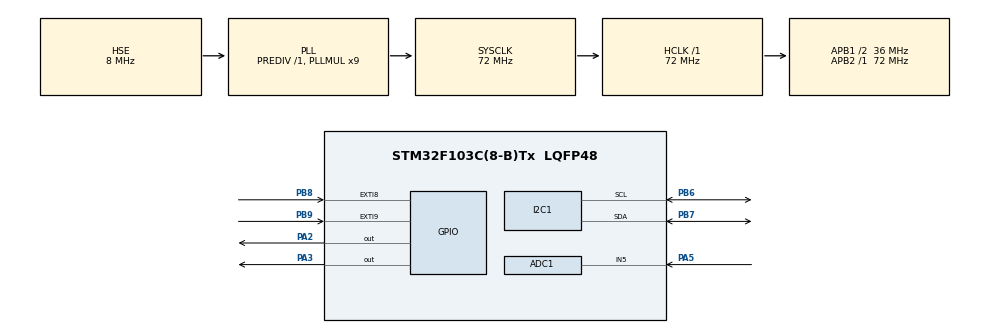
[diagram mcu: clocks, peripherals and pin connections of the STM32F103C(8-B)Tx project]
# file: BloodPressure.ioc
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ADC1.Channel-0\#ChannelRegularConversion=ADC_CHANNEL_5
ADC1.NbrOfConversionFlag=1
ADC1.Rank-0\#ChannelRegularConversion=1
ADC1.SamplingTime-0\#ChannelRegularConversion=ADC_SAMPLETIME_1CYCLE_5
ADC1.master=1
Mcu.Family=STM32F1
Mcu.Name=STM32F103C(8-B)Tx
Mcu.Package=LQFP48
NVIC.ADC1_2_IRQn=true\:0\:0\:false\:false\:true\:true\:true
NVIC.EXTI9_5_IRQn=true\:0\:0\:false\:false\:true\:true\:true
NVIC.I2C1_ER_IRQn=true\:0\:0\:false\:false\:true\:true\:true
NVIC.I2C1_EV_IRQn=true\:0\:0\:false\:false\:true\:true\:true
NVIC.PriorityGroup=NVIC_PRIORITYGROUP_4
PA13.Mode=Serial_Wire
PA13.Signal=SYS_JTMS-SWDIO
PA14.Mode=Serial_Wire
PA14.Signal=SYS_JTCK-SWCLK
PA2.Signal=GPIO_Output
PA3.Signal=GPIO_Output
PA5.Signal=ADCx_IN5
PB6.Mode=I2C
PB6.Signal=I2C1_SCL
PB7.Mode=I2C
PB7.Signal=I2C1_SDA
PB8.Signal=GPXTI8
PB9.Signal=GPXTI9
PD0-OSC_IN.Mode=HSE-External-Oscillator
PD0-OSC_IN.Signal=RCC_OSC_IN
PD1-OSC_OUT.Mode=HSE-External-Oscillator
PD1-OSC_OUT.Signal=RCC_OSC_OUT
ProjectManager.HeapSize=0x200
ProjectManager.StackSize=0x400
ProjectManager.TargetToolchain=Makefile
RCC.ADCPresc=RCC_ADCPCLK2_DIV6
RCC.AHBFreq_Value=72000000
RCC.APB1CLKDivider=RCC_HCLK_DIV2
RCC.APB1Freq_Value=36000000
RCC.APB1TimFreq_Value=72000000
RCC.APB2Freq_Value=72000000
RCC.APB2TimFreq_Value=72000000
RCC.HCLKFreq_Value=72000000
RCC.PLLMUL=RCC_PLL_MUL9
RCC.PLLSourceVirtual=RCC_PLLSOURCE_HSE
RCC.SYSCLKFreq_VALUE=72000000
RCC.SYSCLKSource=RCC_SYSCLKSOURCE_PLLCLK
RCC.USBFreq_Value=72000000
SH.ADCx_IN5.0=ADC1_IN5,IN5
board=custom

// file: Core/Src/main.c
/* USER CODE BEGIN Header */
/**
  ******************************************************************************
  * @file           : main.c
  * @brief          : Main program body
  ******************************************************************************
  * @attention
  *
  * Copyright (c) 2023 STMicroelectronics.
  * All rights reserved.
  *
  * This software is licensed under terms that can be found in the LICENSE file
  * in the root directory of this software component.
  * If no LICENSE file comes with this software, it is provided AS-IS.
  *
  ******************************************************************************
  */
/* USER CODE END Header */
#include "main.h"

/* USER CODE BEGIN Includes */
#include "ssd1306.h"
#include "stdio.h"
/* USER CODE END Includes */

/* USER CODE BEGIN PTD */
enum
{
  idle = 0,
  processing,
  done,
  stop
} ;

/* USER CODE END PTD */

/* USER CODE BEGIN PD */
#define A 181.82//316.67 //146.15 //181.82
#define B 300//633.33 //292.31 //300
/* USER CODE END PD */

ADC_HandleTypeDef hadc1;

I2C_HandleTypeDef hi2c1;

/* USER CODE BEGIN PV */
char mode = idle;
int adc;
int max_presssure = 180;
int pressure;
int pre_pressure;
int systolic;
int diastolic;

uint32_t previousMillis = 0; //debouncing purpose
uint32_t currentMillis = 0; // debouncing purpose

/* USER CODE END PV */

void SystemClock_Config(void);
static void MX_GPIO_Init(void);
static void MX_ADC1_Init(void);
static void MX_I2C1_Init(void);
/* USER CODE BEGIN PFP */
void resetvalue()
{
  pressure = 0;
  pre_pressure = 0;
  systolic = 0;
  diastolic = 0;
}
void displayRec()
{
  ssd1306_Fill(Black);
  ssd1306_DrawRectangle(0, 0, SSD1306_WIDTH - 1, SSD1306_HEIGHT - 1, White);
  ssd1306_UpdateScreen();
}
void displayString(char *string, int x, int y)
{
  ssd1306_Fill(Black);
  ssd1306_DrawRectangle(0, 0, SSD1306_WIDTH - 1, SSD1306_HEIGHT - 1, White);
  ssd1306_SetCursor(x, y);
  ssd1306_WriteString(string, Font_6x8, White);
  ssd1306_UpdateScreen();
}

void HAL_GPIO_EXTI_Callback(uint16_t GPIO_Pin)
{
  UNUSED(GPIO_Pin);
    currentMillis = HAL_GetTick();
	if (currentMillis - previousMillis > 1000 )
	{
    if(GPIO_Pin == GPIO_PIN_8)
  {
    if( mode == processing)
      return;
    // close valve
    HAL_GPIO_WritePin(GPIOA, GPIO_PIN_2, GPIO_PIN_SET);
    // run pump
    HAL_GPIO_WritePin(GPIOA, GPIO_PIN_3, GPIO_PIN_SET);
    // mode processing
    mode = processing;
    // display
    displayString("Processing...", 20, 11);
  }
  else if(GPIO_Pin == GPIO_PIN_9)
  {
    // open valve
    //HAL_GPIO_WritePin(GPIOA, GPIO_PIN_2, GPIO_PIN_RESET);
    // stop pump
    //(GPIOA, GPIO_PIN_3, GPIO_PIN_RESET);
    // reset value
    //resetvalue();
    // mode idle
    mode = stop;
    // display
    //displayString("Hello!! Welcome", 20, 11);
  }
		previousMillis = currentMillis;
	}
}
void HAL_ADC_ConvCpltCallback(ADC_HandleTypeDef* hadc)
{
  UNUSED(hadc);
  if(hadc->Instance == ADC1)
  {
    adc = HAL_ADC_GetValue(&hadc1);
    pressure = A*adc*3.3/4095 - B;
  }
}

/* USER CODE END PFP */

int main(void)
{

  /* MCU Configuration--------------------------------------------------------*/

  /* Reset of all peripherals, Initializes the Flash interface and the Systick. */
  HAL_Init();

  /* Configure the system clock */
  SystemClock_Config();

  /* Initialize all configured peripherals */
  MX_GPIO_Init();
  MX_ADC1_Init();
  MX_I2C1_Init();
  /* USER CODE BEGIN 2 */
  ssd1306_Init();
  displayRec();
  displayString("Hello!! Welcome", 20 ,11);

  /* USER CODE END 2 */

  /* Infinite loop */
  /* USER CODE BEGIN WHILE */
  while (1)
  {
    if(mode == processing)
    {
      HAL_ADC_Start_IT(&hadc1);
      HAL_Delay(10);
      char display[10];
      sprintf(display, "%d mmHg", pressure);
      ssd1306_SetCursor(40, 20);
      ssd1306_WriteString(display, Font_6x8, White);
      ssd1306_UpdateScreen();
      if(pressure >= max_presssure)
      {
        //stop pump
        HAL_GPIO_WritePin(GPIOA, GPIO_PIN_3, GPIO_PIN_RESET);
        // delay 1s
        HAL_Delay(1000);
        // open valve
        HAL_GPIO_WritePin(GPIOA, GPIO_PIN_2, GPIO_PIN_SET);
        // set value for pre_pressure
        pre_pressure = pressure;
        while(mode == processing)
        {
          HAL_ADC_GetValue(&hadc1);
          HAL_Delay(10);
          if(pre_pressure > pressure)
            pre_pressure = pressure;
          else
          {
            if(systolic == 0)
              systolic = pressure;
            else
              diastolic = pressure;
          }
          if(pressure <= 80)
            mode = done;
        }
      }

    }
    else if( mode == done)
    {
      char display[20];
      sprintf(display, "%d/%d mmHg", systolic, diastolic);
      displayString("Blood Pressure:", 20, 5);
      ssd1306_SetCursor(40, 15);
      ssd1306_WriteString(display, Font_6x8, White);
      ssd1306_UpdateScreen();
      mode = idle;
    }
    if( mode == stop)
    {
      // open valve
    HAL_GPIO_WritePin(GPIOA, GPIO_PIN_2, GPIO_PIN_RESET);
    // stop pump
    HAL_GPIO_WritePin(GPIOA, GPIO_PIN_3, GPIO_PIN_RESET);
    // reset value
    resetvalue();
    // mode idle
    mode = idle;
    // display
    displayString("Hello!! Welcome", 20, 11);
    }
    /* USER CODE END WHILE */

  }
}

void SystemClock_Config(void)
{
  RCC_OscInitTypeDef RCC_OscInitStruct = {0};
  RCC_ClkInitTypeDef RCC_ClkInitStruct = {0};
  RCC_PeriphCLKInitTypeDef PeriphClkInit = {0};

  /** Initializes the RCC Oscillators according to the specified parameters
  * in the RCC_OscInitTypeDef structure.
  */
  RCC_OscInitStruct.OscillatorType = RCC_OSCILLATORTYPE_HSE;
  RCC_OscInitStruct.HSEState = RCC_HSE_ON;
  RCC_OscInitStruct.HSEPredivValue = RCC_HSE_PREDIV_DIV1;
  RCC_OscInitStruct.HSIState = RCC_HSI_ON;
  RCC_OscInitStruct.PLL.PLLState = RCC_PLL_ON;
  RCC_OscInitStruct.PLL.PLLSource = RCC_PLLSOURCE_HSE;
  RCC_OscInitStruct.PLL.PLLMUL = RCC_PLL_MUL9;
  if (HAL_RCC_OscConfig(&RCC_OscInitStruct) != HAL_OK)
  {
    Error_Handler();
  }
  /** Initializes the CPU, AHB and APB buses clocks
  */
  RCC_ClkInitStruct.ClockType = RCC_CLOCKTYPE_HCLK|RCC_CLOCKTYPE_SYSCLK
                              |RCC_CLOCKTYPE_PCLK1|RCC_CLOCKTYPE_PCLK2;
  RCC_ClkInitStruct.SYSCLKSource = RCC_SYSCLKSOURCE_PLLCLK;
  RCC_ClkInitStruct.AHBCLKDivider = RCC_SYSCLK_DIV1;
  RCC_ClkInitStruct.APB1CLKDivider = RCC_HCLK_DIV2;
  RCC_ClkInitStruct.APB2CLKDivider = RCC_HCLK_DIV1;

  if (HAL_RCC_ClockConfig(&RCC_ClkInitStruct, FLASH_LATENCY_2) != HAL_OK)
  {
    Error_Handler();
  }
  PeriphClkInit.PeriphClockSelection = RCC_PERIPHCLK_ADC;
  PeriphClkInit.AdcClockSelection = RCC_ADCPCLK2_DIV6;
  if (HAL_RCCEx_PeriphCLKConfig(&PeriphClkInit) != HAL_OK)
  {
    Error_Handler();
  }
}

static void MX_ADC1_Init(void)
{

  ADC_ChannelConfTypeDef sConfig = {0};

  /** Common config
  */
  hadc1.Instance = ADC1;
  hadc1.Init.ScanConvMode = ADC_SCAN_DISABLE;
  hadc1.Init.ContinuousConvMode = DISABLE;
  hadc1.Init.DiscontinuousConvMode = DISABLE;
  hadc1.Init.ExternalTrigConv = ADC_SOFTWARE_START;
  hadc1.Init.DataAlign = ADC_DATAALIGN_RIGHT;
  hadc1.Init.NbrOfConversion = 1;
  if (HAL_ADC_Init(&hadc1) != HAL_OK)
  {
    Error_Handler();
  }
  /** Configure Regular Channel
  */
  sConfig.Channel = ADC_CHANNEL_4;
  sConfig.Rank = ADC_REGULAR_RANK_1;
  sConfig.SamplingTime = ADC_SAMPLETIME_1CYCLE_5;
  if (HAL_ADC_ConfigChannel(&hadc1, &sConfig) != HAL_OK)
  {
    Error_Handler();
  }

}

static void MX_I2C1_Init(void)
{

  hi2c1.Instance = I2C1;
  hi2c1.Init.ClockSpeed = 100000;
  hi2c1.Init.DutyCycle = I2C_DUTYCYCLE_2;
  hi2c1.Init.OwnAddress1 = 0;
  hi2c1.Init.AddressingMode = I2C_ADDRESSINGMODE_7BIT;
  hi2c1.Init.DualAddressMode = I2C_DUALADDRESS_DISABLE;
  hi2c1.Init.OwnAddress2 = 0;
  hi2c1.Init.GeneralCallMode = I2C_GENERALCALL_DISABLE;
  hi2c1.Init.NoStretchMode = I2C_NOSTRETCH_DISABLE;
  if (HAL_I2C_Init(&hi2c1) != HAL_OK)
  {
    Error_Handler();
  }

}

static void MX_GPIO_Init(void)
{
  GPIO_InitTypeDef GPIO_InitStruct = {0};

  /* GPIO Ports Clock Enable */
  __HAL_RCC_GPIOD_CLK_ENABLE();
  __HAL_RCC_GPIOA_CLK_ENABLE();
  __HAL_RCC_GPIOB_CLK_ENABLE();

  /*Configure GPIO pin Output Level */
  HAL_GPIO_WritePin(GPIOA, GPIO_PIN_2|GPIO_PIN_3, GPIO_PIN_RESET);

  /*Configure GPIO pins : PA2 PA3 */
  GPIO_InitStruct.Pin = GPIO_PIN_2|GPIO_PIN_3;
  GPIO_InitStruct.Mode = GPIO_MODE_OUTPUT_PP;
  GPIO_InitStruct.Pull = GPIO_NOPULL;
  GPIO_InitStruct.Speed = GPIO_SPEED_FREQ_LOW;
  HAL_GPIO_Init(GPIOA, &GPIO_InitStruct);

  /*Configure GPIO pins : PB8 PB9 */
  GPIO_InitStruct.Pin = GPIO_PIN_8|GPIO_PIN_9;
  GPIO_InitStruct.Mode = GPIO_MODE_IT_FALLING;
  GPIO_InitStruct.Pull = GPIO_NOPULL;
  HAL_GPIO_Init(GPIOB, &GPIO_InitStruct);

  /* EXTI interrupt init*/
  HAL_NVIC_SetPriority(EXTI9_5_IRQn, 0, 0);
  HAL_NVIC_EnableIRQ(EXTI9_5_IRQn);

}

void Error_Handler(void)
{
  __disable_irq();
  while (1)
  {
  }
}
